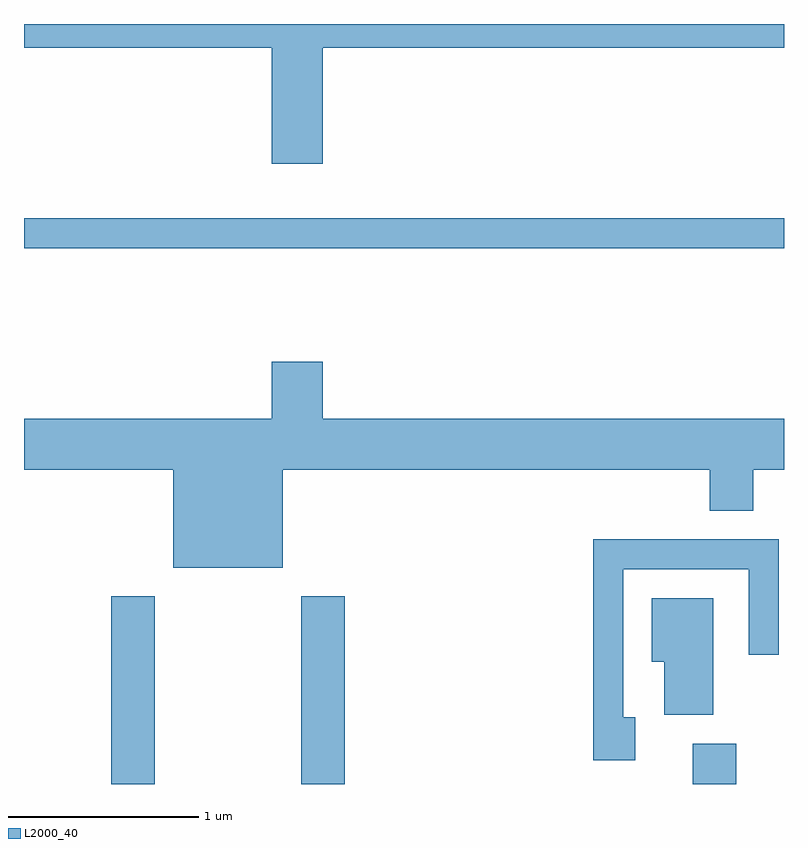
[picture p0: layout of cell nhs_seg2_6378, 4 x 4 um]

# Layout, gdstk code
import gdstk
lib = gdstk.Library(unit=1e-6, precision=1e-09)
def R(c, l, rs):  # rectangles x0, y0, x1, y1
    for r in rs: c.add(gdstk.rectangle(r[:2], r[2:], *l))
def P(c, l, *ps):  # polygons
    for p in ps: c.add(gdstk.Polygon(p, *l))
L2000_40 = (2000, 40)

nhs_seg2_6378 = lib.new_cell('nhs_seg2_6378')
R(nhs_seg2_6378, L2000_40, [(374.071,1017.802,374.299,1018.789), (375.071,1017.802,375.299,1018.789), (377.131,1017.802,377.359,1018.014), (373.611,1020.621,377.611,1020.779)])
P(nhs_seg2_6378, L2000_40, [(375.184,1021.676),(377.611,1021.676),(377.611,1021.802),(373.611,1021.802),(373.611,1021.676),(374.916,1021.676),(374.916,1021.066),(375.184,1021.066)],
  [(374.974,1019.456),(377.221,1019.456),(377.221,1019.241),(377.449,1019.241),(377.449,1019.456),(377.611,1019.456),(377.611,1019.724),(375.184,1019.724),(375.184,1020.024),(374.916,1020.024),(374.916,1019.724),(373.611,1019.724),(373.611,1019.456),(374.396,1019.456),(374.396,1018.941),(374.974,1018.941)],
  [(376.829,1018.154),(376.764,1018.154),(376.764,1018.931),(377.426,1018.931),(377.426,1018.483),(377.584,1018.483),(377.584,1019.089),(376.606,1019.089),(376.606,1017.926),(376.829,1017.926)],
  [(377.239,1018.779),(376.916,1018.779),(376.916,1018.446),(376.981,1018.446),(376.981,1018.166),(377.239,1018.166)])

lib.write_gds('nhs_seg2_6378.gds')
